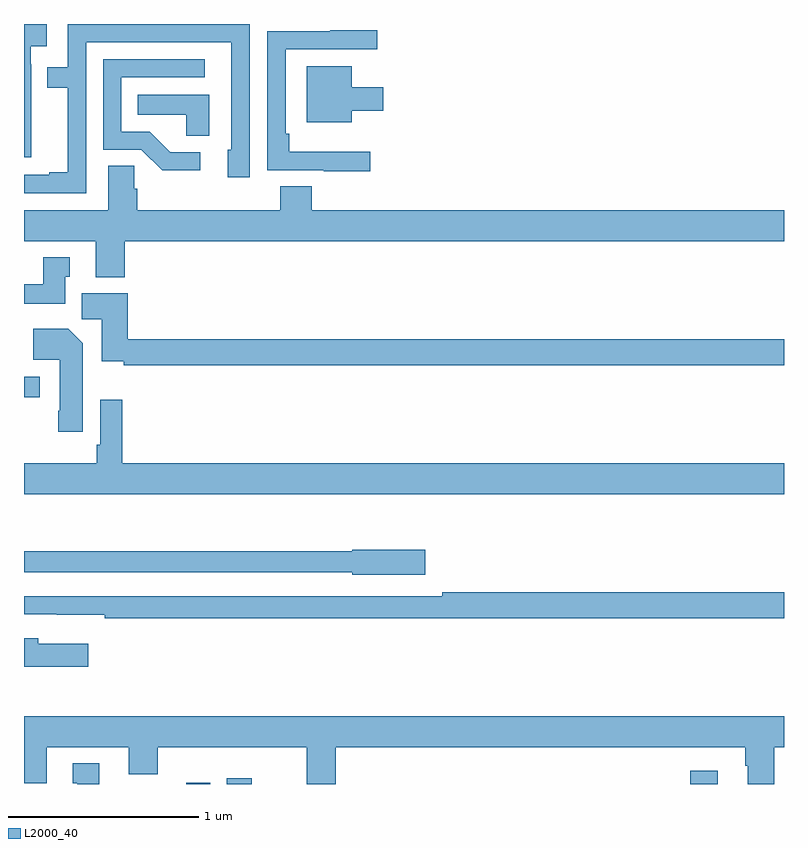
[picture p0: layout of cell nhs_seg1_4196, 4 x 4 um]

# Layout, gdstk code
import gdstk
lib = gdstk.Library(unit=1e-6, precision=1e-09)
def R(c, l, rs):  # rectangles x0, y0, x1, y1
    for r in rs: c.add(gdstk.rectangle(r[:2], r[2:], *l))
def P(c, l, *ps):  # polygons
    for p in ps: c.add(gdstk.Polygon(p, *l))
L2000_40 = (2000, 40)

nhs_seg1_4196 = lib.new_cell('nhs_seg1_4196')
R(nhs_seg1_4196, L2000_40, [(339.854,558.199,339.979,558.205), (340.067,558.199,340.198,558.229), (342.506,558.199,342.652,558.268), (339,560.235,339.082,560.343)])
P(nhs_seg1_4196, L2000_40, [(339.327,562.104),(340.092,562.104),(340.092,561.537),(340.073,561.537),(340.073,561.393),(340.188,561.393),(340.188,562.199),(339.231,562.199),(339.231,561.972),(339.122,561.972),(339.122,561.864),(339.23,561.864),(339.23,561.418),(339.134,561.418),(339.134,561.405),(339,561.405),(339,561.309),(339.327,561.309)],
  [(339.037,561.986),(339.036,561.986),(339.036,562.082),(339.121,562.082),(339.121,562.199),(339,562.199),(339,561.498),(339.037,561.498)],
  [(340.822,561.526),(340.397,561.526),(340.397,561.622),(340.377,561.622),(340.377,562.065),(340.858,562.065),(340.858,562.165),(340.613,562.165),(340.613,562.161),(340.281,562.161),(340.281,561.429),(340.577,561.429),(340.577,561.425),(340.822,561.425)],
  [(339.928,561.525),(339.771,561.525),(339.663,561.633),(339.513,561.633),(339.513,561.918),(339.952,561.918),(339.952,562.014),(339.417,562.014),(339.417,561.537),(339.618,561.537),(339.728,561.428),(339.928,561.428)],
  [(340.726,561.743),(340.891,561.743),(340.891,561.865),(340.726,561.865),(340.726,561.976),(340.487,561.976),(340.487,561.683),(340.726,561.683)],
  [(339.976,561.826),(339.598,561.826),(339.598,561.722),(339.854,561.722),(339.854,561.61),(339.976,561.61)],
  [(339.53,561.056),(343,561.056),(343,561.22),(340.514,561.22),(340.514,561.344),(340.349,561.344),(340.349,561.22),(339.596,561.22),(339.596,561.332),(339.581,561.332),(339.581,561.452),(339.443,561.452),(339.443,561.22),(339,561.22),(339,561.056),(339.377,561.056),(339.377,560.867),(339.53,560.867)],
  [(339.217,560.868),(339.241,560.868),(339.241,560.971),(339.101,560.971),(339.101,560.83),(339,560.83),(339,560.726),(339.217,560.726)],
  [(343,560.54),(339.545,560.54),(339.545,560.782),(339.305,560.782),(339.305,560.644),(339.41,560.644),(339.41,560.423),(339.526,560.423),(339.526,560.404),(343,560.404)],
  [(339.31,560.518),(339.232,560.596),(339.049,560.596),(339.049,560.432),(339.188,560.432),(339.188,560.164),(339.181,560.164),(339.181,560.052),(339.31,560.052)],
  [(343,559.888),(339.518,559.888),(339.518,560.221),(339.402,560.221),(339.402,559.984),(339.382,559.984),(339.382,559.888),(339,559.888),(339,559.724),(343,559.724)],
  [(341.113,559.431),(340.728,559.431),(340.728,559.423),(339,559.423),(339,559.314),(340.728,559.314),(340.728,559.301),(341.113,559.301)],
  [(343,559.208),(341.2,559.208),(341.2,559.188),(339,559.188),(339,559.092),(339.172,559.092),(339.172,559.091),(339.424,559.091),(339.424,559.072),(343,559.072)],
  [(339.337,558.937),(339.076,558.937),(339.076,558.966),(339,558.966),(339,558.815),(339.337,558.815)],
  [(339,558.203),(339.121,558.203),(339.121,558.392),(339.551,558.392),(339.551,558.251),(339.704,558.251),(339.704,558.392),(340.487,558.392),(340.487,558.199),(340.64,558.199),(340.64,558.392),(342.797,558.392),(342.797,558.296),(342.809,558.296),(342.809,558.199),(342.949,558.199),(342.949,558.392),(343,558.392),(343,558.556),(339,558.556)],
  [(339.397,558.307),(339.257,558.307),(339.257,558.204),(339.281,558.204),(339.281,558.199),(339.397,558.199)])

lib.write_gds('nhs_seg1_4196.gds')
